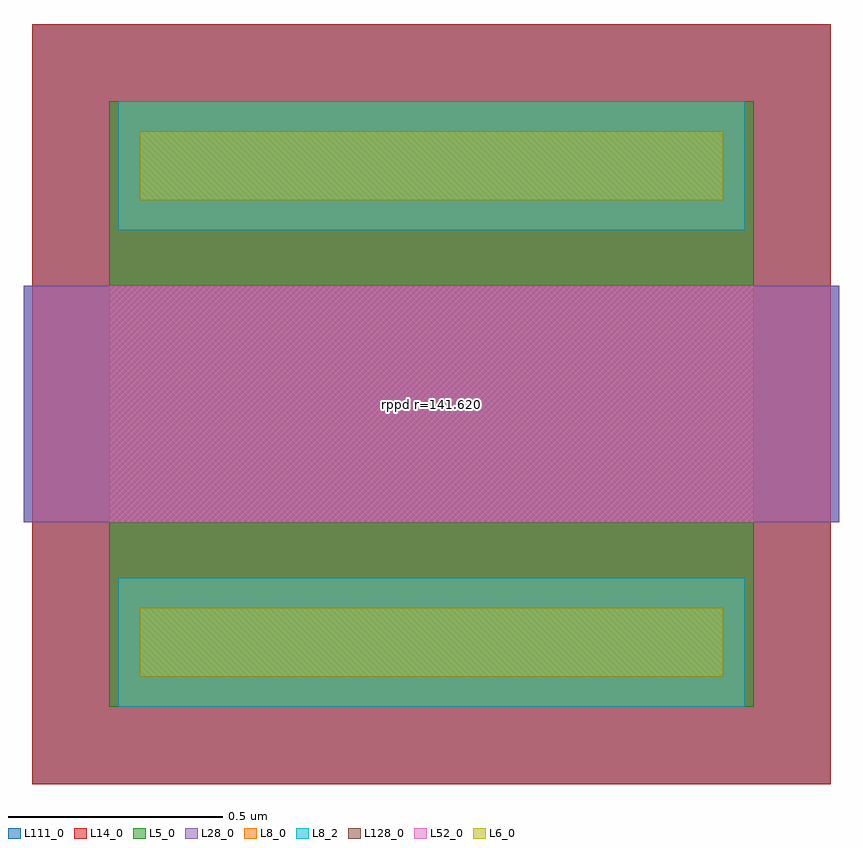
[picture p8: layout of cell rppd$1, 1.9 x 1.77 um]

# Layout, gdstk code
import gdstk
lib = gdstk.Library(unit=1e-6, precision=1e-09)
def R(c, l, rs):  # rectangles x0, y0, x1, y1
    for r in rs: c.add(gdstk.rectangle(r[:2], r[2:], *l))
L5_0 = (5, 0)
L6_0 = (6, 0)
L8_0 = (8, 0)
L8_2 = (8, 2)
L14_0 = (14, 0)
L28_0 = (28, 0)
L52_0 = (52, 0)
L111_0 = (111, 0)
L128_0 = (128, 0)

rppd_1 = lib.new_cell('rppd$1')
R(rppd_1, L5_0, [(0,-0.43,1.5,-0.2), (0,-0.2,1.5,0), (0,0.55,1.5,0.75), (0,0.75,1.5,0.98)])
R(rppd_1, L6_0, [(0.07,-0.36,1.43,-0.2), (0.07,0.75,1.43,0.91)])
R(rppd_1, L8_0, [(0.02,-0.43,1.48,-0.13), (0.02,0.68,1.48,0.98)])
R(rppd_1, L8_2, [(0.02,-0.43,1.48,-0.13), (0.02,0.68,1.48,0.98)])
R(rppd_1, L14_0, [(-0.18,-0.61,1.68,0), (-0.18,0,1.68,0.55), (-0.18,0.55,1.68,1.16)])
R(rppd_1, L28_0, [(-0.2,0,1.7,0.55)])
R(rppd_1, L52_0, [(0,0,1.5,0.55)])
R(rppd_1, L111_0, [(-0.18,-0.61,1.68,0), (-0.2,0,1.7,0.55), (-0.18,0.55,1.68,1.16)])
R(rppd_1, L128_0, [(0,0,1.5,0.55)])
rppd_1.add(gdstk.Label('rppd r=141.620', (0.75,0.275), layer=63, texttype=0))
rppd_1.add(gdstk.Label('rppd', (0.75,0.275), layer=52, texttype=0))

lib.write_gds('rppd_1.gds')
